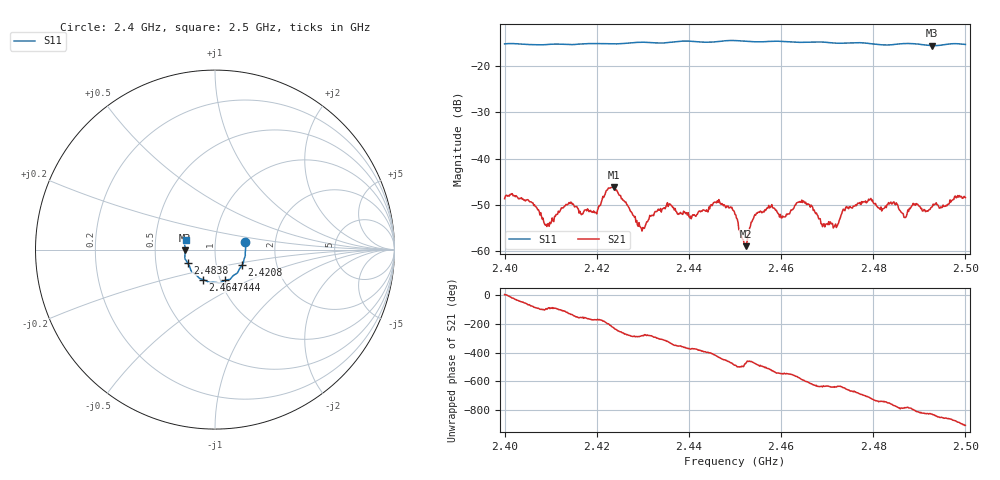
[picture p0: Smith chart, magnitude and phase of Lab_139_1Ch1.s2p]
# Hz S RI R 50
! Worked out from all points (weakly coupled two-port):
!   601 points, 2.4 GHz to 2.5 GHz, reference 50 ohm
!   highest |S21| = -46.19 dB at 2.4237 GHz (marker M1); lowest = -58.9 dB at 2.4523 GHz (marker M2)
!   lowest |S11| = -15.6 dB at 2.4928 GHz (marker M3), VSWR 1.40, Z = 35.8 - j0.362 ohm
!   |S11| at or under -10 dB: start of sweep to end of sweep
!   S12 and S22 are empty: the file has one direction only
!   S11 on the Smith chart (normalised r, x): 2.4 GHz: 1.40, +0.12; 2.4208 GHz: 1.33, -0.24; 2.444 GHz: 1.06, -0.37; 2.4647 GHz: 0.83, -0.29; 2.4838 GHz: 0.73, -0.11; 2.5 GHz: 0.72, +0.08
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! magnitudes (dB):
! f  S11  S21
! 2.4 GHz  -15.2  -48.7
! 2.4057 GHz  -15.4  -49.3
! 2.4092 GHz  -15.4  -54.7
! 2.414 GHz  -15.4  -49.5
! 2.4167 GHz  -15.2  -52.1
! 2.4208 GHz  -15.2  -50.0
! 2.4237 GHz  -15.2  -46.2
! 2.4298 GHz  -14.9  -55.7
! 2.4333 GHz  -15.0  -50.9
! 2.444 GHz  -14.9  -51.4
! 2.45 GHz  -14.5  -52.1
! 2.4523 GHz  -14.7  -58.9
! 2.4548 GHz  -14.8  -51.8
! 2.4647 GHz  -14.9  -49.5
! 2.4667 GHz  -14.8  -50.3
! 2.4718 GHz  -15.1  -54.1
! 2.4745 GHz  -15.0  -50.5
! 2.4833 GHz  -15.5  -49.5
! 2.4838 GHz  -15.4  -49.4
! 2.4868 GHz  -15.2  -52.7
! 2.4928 GHz  -15.6  -50.4
! 2.5 GHz  -15.4  -48.4
